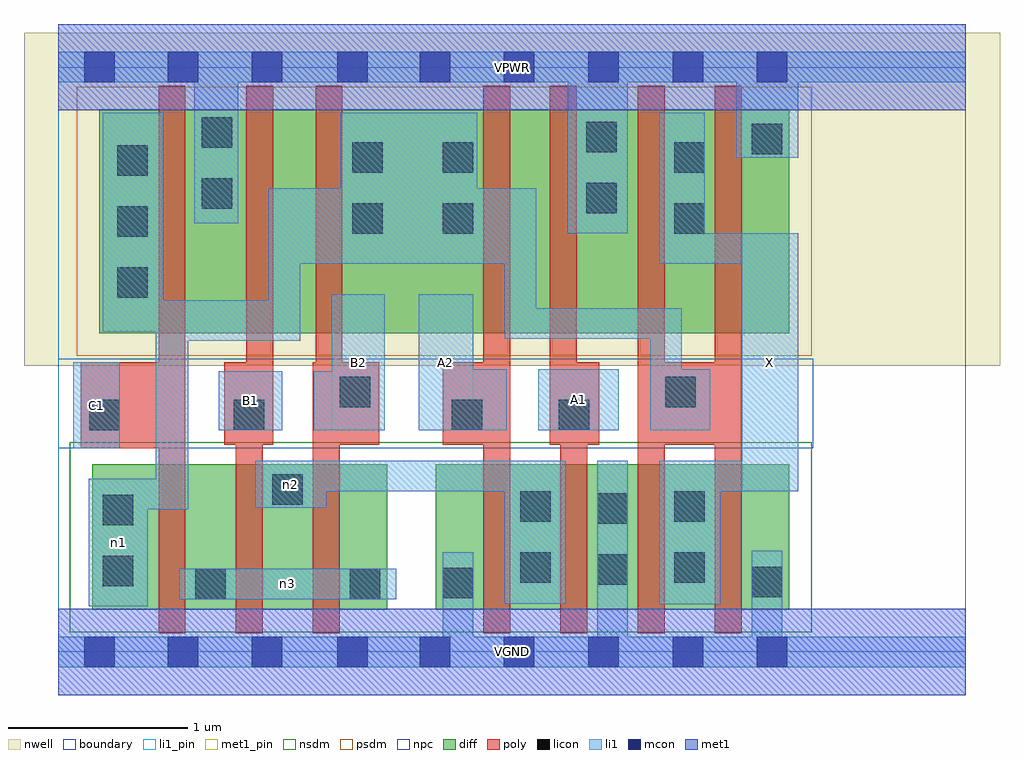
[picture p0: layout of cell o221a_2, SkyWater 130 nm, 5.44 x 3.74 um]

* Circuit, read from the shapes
.subckt o221a_2 A1 A2 B1 B2 C1 VGND VPWR X n1 n2 n3
XM1 n3 C1 n1 VSUBS sky130_fd_pr__nfet_01v8 w=0.81 l=0.15
XM2 n2 B1 n3 VSUBS sky130_fd_pr__nfet_01v8 w=0.81 l=0.15
XM3 n3 B2 n2 VSUBS sky130_fd_pr__nfet_01v8 w=0.81 l=0.15
XM4 n2 A2 VGND VSUBS sky130_fd_pr__nfet_01v8 w=0.81 l=0.15
XM5 VGND A1 n2 VSUBS sky130_fd_pr__nfet_01v8 w=0.81 l=0.15
XM6 X n1 VGND VSUBS sky130_fd_pr__nfet_01v8 w=0.81 l=0.15 m=2
XM7 VPWR C1 n1 n4 sky130_fd_pr__pfet_01v8 w=1.25 l=0.15
XM8 n5 B1 VPWR n4 sky130_fd_pr__pfet_01v8 w=1.25 l=0.15
XM9 n1 B2 n5 n4 sky130_fd_pr__pfet_01v8 w=1.25 l=0.15
XM10 n6 A2 n1 n4 sky130_fd_pr__pfet_01v8 w=1.25 l=0.15
XM11 VPWR A1 n6 n4 sky130_fd_pr__pfet_01v8 w=1.25 l=0.15
XM12 X n1 VPWR n4 sky130_fd_pr__pfet_01v8 w=1.25 l=0.15 m=2
.ends

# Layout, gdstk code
import gdstk
lib = gdstk.Library(unit=1e-6, precision=1e-09)
def R(c, l, rs):  # rectangles x0, y0, x1, y1
    for r in rs: c.add(gdstk.rectangle(r[:2], r[2:], *l))
def A(c, l, x, y, w, h, nx, ny, dx, dy):  # array of equal rectangles
    R(c, l, [(x+i*dx, y+j*dy, x+i*dx+w, y+j*dy+h) for i in range(nx) for j in range(ny)])
nwell = (64, 20)
diff = (65, 20)
poly = (66, 20)
licon = (66, 44)
li1_pin = (67, 16)
li1 = (67, 20)
mcon = (67, 44)
met1_pin = (68, 16)
met1 = (68, 20)
nsdm = (93, 44)
psdm = (94, 20)
npc = (95, 20)
boundary = (235, 4)

o221a_2 = lib.new_cell('o221a_2')
R(o221a_2, nwell, [(-0.19,1.595,5.25,3.45), (0,1.595,5.06,3.45)])
R(o221a_2, diff, [(0.19,0.235,1.835,1.045), (2.105,0.235,4.075,1.045), (0.23,1.775,4.075,3.025)])
R(o221a_2, poly, [(0.56,0.105,0.71,3.155), (0.99,0.105,1.14,1.615), (1.42,0.105,1.57,1.615), (2.37,0.105,2.52,3.155), (2.8,0.105,2.95,1.615), (3.23,0.105,3.38,3.155), (3.66,0.105,3.81,3.155), (0.125,1.135,0.71,1.615), (0.925,1.155,1.2,1.615), (1.05,1.155,1.2,3.155), (1.42,1.155,1.79,1.615), (1.435,1.155,1.585,3.155), (2.145,1.155,2.52,1.615), (2.74,1.155,3.015,1.615), (2.74,1.155,2.89,3.155), (3.23,1.155,3.81,1.615)])
A(o221a_2, licon, 0.33, 1.975, 0.17, 0.17, 1, 3, 0, 0.34)
R(o221a_2, licon, [(0.765,0.295,0.935,0.465), (1.625,0.295,1.795,0.465), (2.145,0.3,2.315,0.47), (3.865,0.305,4.035,0.475), (0.25,0.365,0.42,0.535), (3.005,0.375,3.175,0.545), (2.575,0.385,2.745,0.555), (3.435,0.385,3.605,0.555), (0.25,0.705,0.42,0.875), (3.005,0.715,3.175,0.885), (2.575,0.725,2.745,0.895), (3.435,0.725,3.605,0.895), (1.195,0.82,1.365,0.99), (0.175,1.235,0.345,1.405), (0.98,1.235,1.15,1.405), (2.195,1.235,2.365,1.405), (2.79,1.235,2.96,1.405), (1.57,1.365,1.74,1.535), (3.385,1.365,3.555,1.535), (1.64,2.33,1.81,2.5), (2.145,2.33,2.315,2.5), (3.435,2.33,3.605,2.5), (2.945,2.445,3.115,2.615), (0.8,2.47,0.97,2.64), (1.64,2.67,1.81,2.84), (2.145,2.67,2.315,2.84), (3.435,2.67,3.605,2.84), (3.865,2.775,4.035,2.945), (2.945,2.785,3.115,2.955), (0.8,2.81,0.97,2.98)])
R(o221a_2, li1_pin, [(3.81,0.895,4.125,2.335), (0.085,1.135,0.345,1.615), (0.895,1.235,1.25,1.565), (1.525,1.235,1.82,1.995), (2.01,1.235,2.315,1.995), (2.675,1.235,3.125,1.575)])
R(o221a_2, li1, [(0,-0.085,5.06,0.085), (2.145,-0.085,2.315,0.555), (3.005,-0.085,3.175,1.065), (3.865,-0.085,4.035,0.565), (0.17,0.255,0.5,0.965), (3.35,0.265,3.69,1.065), (2.49,0.27,2.83,1.065), (0.675,0.295,1.885,0.465), (0.17,0.795,0.725,0.965), (0.545,0.795,0.725,1.96), (1.1,0.805,1.495,1.065), (1.1,0.895,2.83,1.065), (3.35,0.895,4.125,1.065), (3.81,0.895,4.125,2.335), (0.085,1.135,0.345,1.615), (0.895,1.235,1.25,1.565), (1.425,1.235,1.82,1.565), (1.525,1.235,1.82,1.995), (2.01,1.235,2.315,1.995), (2.01,1.235,2.5,1.575), (2.675,1.235,3.125,1.575), (3.3,1.235,3.635,1.575), (3.3,1.235,3.475,1.915), (0.545,1.735,1.35,1.96), (1.175,1.735,1.35,2.585), (2.49,1.745,3.475,1.915), (2.49,1.745,2.665,2.585), (0.25,1.785,0.585,3.005), (1.175,2.165,2.665,2.585), (1.575,2.165,2.335,3.005), (3.35,2.165,4.125,2.335), (3.35,2.165,3.605,3.005), (2.84,2.335,3.175,3.345), (0.76,2.39,1.005,3.345), (3.78,2.755,4.125,3.345), (0,3.175,5.06,3.345)])
A(o221a_2, mcon, 2.015, -0.085, 0.17, 0.17, 5, 2, 0.47, 3.26)
R(o221a_2, mcon, [(0.145,-0.085,0.315,0.085), (0.61,-0.085,0.78,0.085), (1.08,-0.085,1.25,0.085), (1.555,-0.085,1.725,0.085), (0.145,3.175,0.315,3.345), (0.61,3.175,0.78,3.345), (1.08,3.175,1.25,3.345), (1.555,3.175,1.725,3.345)])
R(o221a_2, met1_pin, [(0,-0.24,5.06,0.24), (0,3.02,5.06,3.5)])
R(o221a_2, met1, [(0,-0.24,5.06,0.24), (0,3.02,5.06,3.5)])
R(o221a_2, nsdm, [(0.065,0.11,4.2,1.17)])
R(o221a_2, psdm, [(0.105,1.65,4.2,3.15)])
R(o221a_2, npc, [(0,1.135,4.21,1.635)])
R(o221a_2, boundary, [(0,0,5.06,3.26)])
o221a_2.add(gdstk.Label('A1', (2.9,1.405), layer=67, texttype=5))
o221a_2.add(gdstk.Label('A2', (2.162,1.615), layer=67, texttype=5))
o221a_2.add(gdstk.Label('B1', (1.072,1.4), layer=67, texttype=5))
o221a_2.add(gdstk.Label('B2', (1.672,1.615), layer=67, texttype=5))
o221a_2.add(gdstk.Label('C1', (0.215,1.375), layer=67, texttype=5))
o221a_2.add(gdstk.Label('X', (3.967,1.615), layer=67, texttype=5))
o221a_2.add(gdstk.Label('n3', (1.28,0.38), layer=67, texttype=5))
o221a_2.add(gdstk.Label('n2', (1.297,0.935), layer=67, texttype=5))
o221a_2.add(gdstk.Label('n1', (0.335,0.61), layer=67, texttype=5))
o221a_2.add(gdstk.Label('VPWR', (2.53,3.26), layer=68, texttype=5))
o221a_2.add(gdstk.Label('VGND', (2.53,0), layer=68, texttype=5))
o221a_2.add(gdstk.Label('A1', (2.9,1.405), layer=67, texttype=16))
o221a_2.add(gdstk.Label('A2', (2.162,1.615), layer=67, texttype=16))
o221a_2.add(gdstk.Label('B1', (1.072,1.4), layer=67, texttype=16))
o221a_2.add(gdstk.Label('B2', (1.672,1.615), layer=67, texttype=16))
o221a_2.add(gdstk.Label('C1', (0.215,1.375), layer=67, texttype=16))
o221a_2.add(gdstk.Label('X', (3.967,1.615), layer=67, texttype=16))
o221a_2.add(gdstk.Label('VPWR', (2.53,3.26), layer=68, texttype=16))
o221a_2.add(gdstk.Label('VGND', (2.53,0), layer=68, texttype=16))

lib.write_gds('o221a_2.gds')
